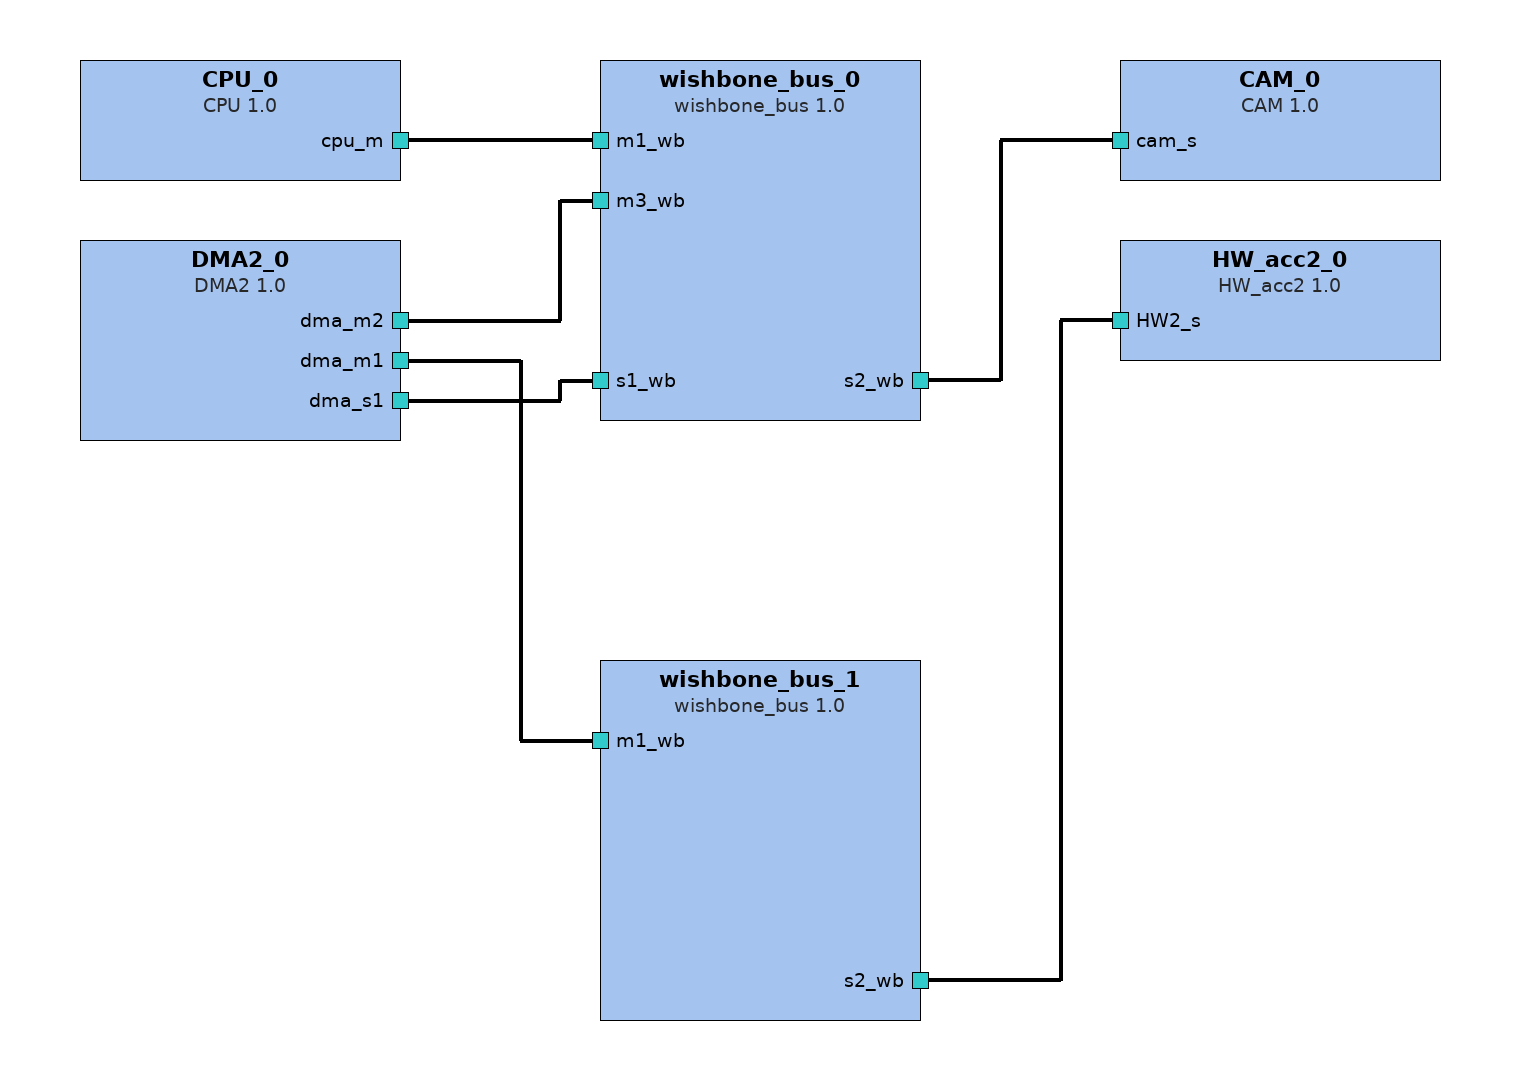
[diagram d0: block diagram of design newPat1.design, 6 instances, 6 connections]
<?xml version="1.0" encoding="UTF-8"?>
<!-- Created by Kactus210:14:09 16.01.2013 -->
<spirit:design xmlns:kactus2="http://funbase.cs.tut.fi/" xmlns:spirit="http://www.spiritconsortium.org/XMLSchema/SPIRIT/1.5" xmlns:xsi="http://www.w3.org/2001/XMLSchema-instance" xsi:schemaLocation="http://www.spiritconsortium.org/XMLSchema/SPIRIT/1.5 http://www.spiritconsortium.org/XMLSchema/SPIRIT/1.5/index.xsd"><spirit:vendor>TUM</spirit:vendor><spirit:library>soc</spirit:library><spirit:name>newPat1.design</spirit:name>
 <spirit:version>1.0</spirit:version><spirit:componentInstances>
 <spirit:componentInstance><spirit:instanceName>HW_acc2_0</spirit:instanceName><spirit:componentRef spirit:vendor="TUM" spirit:library="soc" spirit:name="HW_acc2" spirit:version="1.0"/></spirit:componentInstance>
 <spirit:componentInstance><spirit:instanceName>CAM_0</spirit:instanceName><spirit:componentRef spirit:vendor="TUM" spirit:library="soc" spirit:name="CAM" spirit:version="1.0"/></spirit:componentInstance>
 <spirit:componentInstance><spirit:instanceName>wishbone_bus_1</spirit:instanceName><spirit:componentRef spirit:vendor="TUM" spirit:library="soc" spirit:name="wishbone_bus" spirit:version="1.0"/></spirit:componentInstance>
 <spirit:componentInstance><spirit:instanceName>wishbone_bus_0</spirit:instanceName><spirit:componentRef spirit:vendor="TUM" spirit:library="soc" spirit:name="wishbone_bus" spirit:version="1.0"/></spirit:componentInstance>
 <spirit:componentInstance><spirit:instanceName>DMA2_0</spirit:instanceName><spirit:componentRef spirit:vendor="TUM" spirit:library="soc" spirit:name="DMA2" spirit:version="1.0"/></spirit:componentInstance>
 <spirit:componentInstance><spirit:instanceName>CPU_0</spirit:instanceName><spirit:componentRef spirit:vendor="TUM" spirit:library="soc" spirit:name="CPU" spirit:version="1.0"/></spirit:componentInstance>
</spirit:componentInstances><spirit:interconnections>
 <spirit:interconnection><spirit:name>HW_acc2_0_HW2_s_to_wishbone_bus_1_s2_wb</spirit:name><spirit:activeInterface spirit:componentRef="HW_acc2_0" spirit:busRef="HW2_s"/><spirit:activeInterface spirit:componentRef="wishbone_bus_1" spirit:busRef="s2_wb"/></spirit:interconnection>
 <spirit:interconnection><spirit:name>DMA2_0_dma_s1_to_wishbone_bus_0_s1_wb</spirit:name><spirit:activeInterface spirit:componentRef="DMA2_0" spirit:busRef="dma_s1"/><spirit:activeInterface spirit:componentRef="wishbone_bus_0" spirit:busRef="s1_wb"/></spirit:interconnection>
 <spirit:interconnection><spirit:name>DMA2_0_dma_m1_to_wishbone_bus_1_m1_wb</spirit:name><spirit:activeInterface spirit:componentRef="DMA2_0" spirit:busRef="dma_m1"/><spirit:activeInterface spirit:componentRef="wishbone_bus_1" spirit:busRef="m1_wb"/></spirit:interconnection>
 <spirit:interconnection><spirit:name>DMA2_0_dma_m2_to_wishbone_bus_0_m3_wb</spirit:name><spirit:activeInterface spirit:componentRef="DMA2_0" spirit:busRef="dma_m2"/><spirit:activeInterface spirit:componentRef="wishbone_bus_0" spirit:busRef="m3_wb"/></spirit:interconnection>
 <spirit:interconnection><spirit:name>CAM_0_cam_s_to_wishbone_bus_0_s2_wb</spirit:name><spirit:activeInterface spirit:componentRef="CAM_0" spirit:busRef="cam_s"/><spirit:activeInterface spirit:componentRef="wishbone_bus_0" spirit:busRef="s2_wb"/></spirit:interconnection>
 <spirit:interconnection><spirit:name>wishbone_bus_0_m1_wb_to_CPU_0_cpu_m</spirit:name><spirit:activeInterface spirit:componentRef="wishbone_bus_0" spirit:busRef="m1_wb"/><spirit:activeInterface spirit:componentRef="CPU_0" spirit:busRef="cpu_m"/></spirit:interconnection>
</spirit:interconnections></spirit:design>

